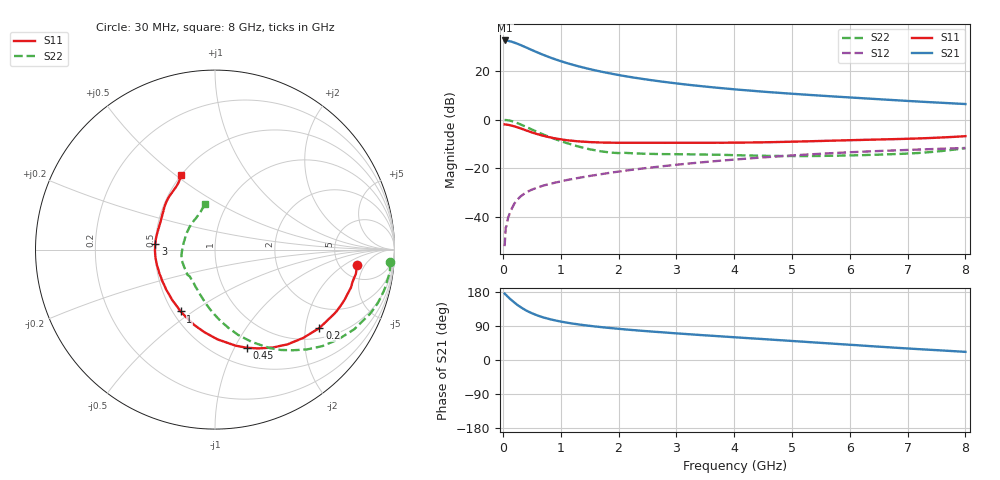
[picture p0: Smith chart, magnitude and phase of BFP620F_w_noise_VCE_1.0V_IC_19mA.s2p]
! Infineon Technologies  Discrete & RF Semiconductors
! BFP620F
! VCE =  1.0 V,  IC =  19 mA
! Common Emitter S-Parameters:  Dec 2014
# GHz  S  MA  R  50
!  f  S11  S21  S12  S22
! GHz  MAG  ANG  MAG  ANG  MAG  ANG  MAG  ANG
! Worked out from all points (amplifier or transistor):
!   95 points, 30 MHz to 8 GHz, reference 50 ohm
!   highest |S21| = 32.6 dB at 40 MHz (marker M1)
!   |S21| within 3 dB of that: start of sweep to 414.1 MHz
!   unconditionally stable (mu >= 1): 3.066 GHz to end of sweep
!   at 300 MHz: K = 0.27, MSG = 31.2 dB, |S12| = -31.7 dB
!   at 3.3 GHz: K = 1.01, MAG = 15.4 dB, |S12| = -17.9 dB
!   at 8 GHz: K = 1.07, MAG = 7.5 dB, |S12| = -11.7 dB
!   lowest NFmin = 0.81 dB at 450 MHz
!   S11 on the Smith chart (normalised r, x): 30 MHz: 7.32, -3.36; 200 MHz: 1.29, -2.39; 450 MHz: 0.69, -1.12; 1 GHz: 0.55, -0.45; 3 GHz: 0.50, +0.03; 8 GHz: 0.50, +0.53
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0.03  0.7977 -6.0  42.48 175.4  0.0025 82.1  0.9801 -4.2
0.04  0.7963 -7.8  42.48 173.8  0.0039 88.2  0.9802 -5.8
0.08  0.7865 -15.5  42.02 167.8  0.0083 81.7  0.9726 -12.1
0.12  0.7696 -22.9  40.9 161.9  0.012 78.5  0.9542 -18.3
0.15  0.7543 -28.4  40.1 157.9  0.0145 76.8  0.9335 -22.7
0.2  0.7275 -36.9  38.26 151.6  0.0189 74.0  0.8942 -29.7
0.25  0.6956 -45.0  36.43 145.5  0.0225 69.8  0.8496 -36.1
0.3  0.6651 -52.5  34.47 140.2  0.026 67.9  0.8038 -42.0
0.4  0.6014 -66.3  30.62 130.9  0.0315 63.1  0.7096 -52.2
0.45  0.5751 -72.0  28.75 127.1  0.034 61.7  0.6691 -56.7
0.6  0.5011 -88.2  24.02 117.4  0.0402 58.6  0.5547 -68.2
0.7  0.4648 -97.1  21.47 112.3  0.0441 57.2  0.4946 -74.6
0.8  0.4362 -105.2  19.3 108.2  0.0472 56.8  0.443 -80.2
1  0.3943 -119.0  15.96 101.5  0.0536 56.3  0.3628 -90.3
1.4  0.352 -140.4  11.71 92.0  0.0662 55.8  0.2626 -108.6
2  0.3344 -162.4  8.286 82.3  0.0853 55.3  0.2051 -133.9
2.7  0.3346 -179.3  6.17 73.7  0.1081 53.3  0.1959 -153.0
3  0.3343 174.7  5.566 70.3  0.1181 52.1  0.195 -159.0
4.1  0.337 157.2  4.111 59.1  0.1541 46.6  0.1847 -176.3
5.4  0.3618 142.3  3.169 46.2  0.1957 38.2  0.179 158.8
6.7  0.3954 128.3  2.546 33.3  0.2309 28.8  0.1944 132.3
8  0.4571 114.2  2.093 21.5  0.2612 19.6  0.2588 102.4
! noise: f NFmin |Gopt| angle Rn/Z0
0.45  0.81  0.06  3  0.21
0.9  0.87  0.06  11  0.18
1.5  0.92  0.06  12  0.14
1.8  0.94  0.05  14  0.14
1.9  0.95  0.03  31  0.16
2.4  0.98  0.02  68  0.15
3.5  1.06  0.03  160  0.14
5.5  1.2  0.14  227  0.1
6  1.23  0.14  248  0.14
